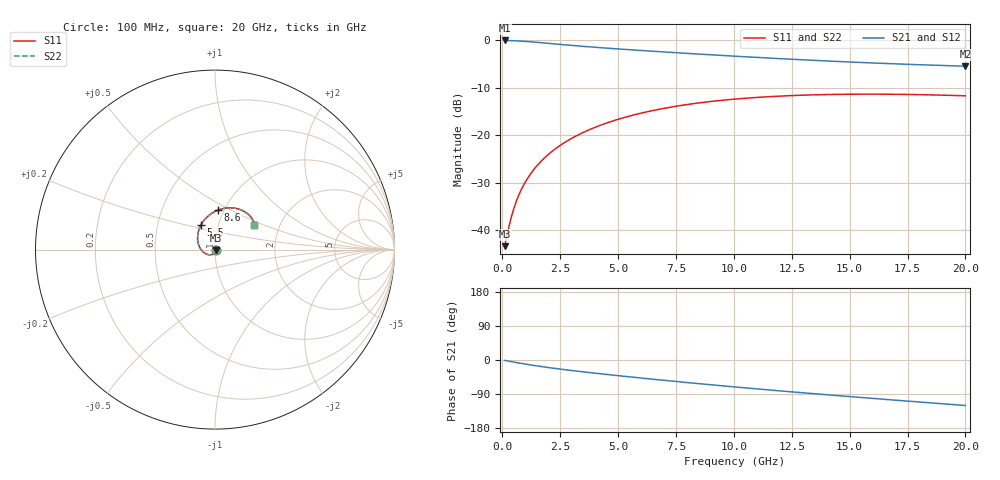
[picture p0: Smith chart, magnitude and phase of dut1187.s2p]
! Touchstone file exported from HFSS 2024.1.0
!  File:  C:/UserFiles/LocalFiles/RDL_TSV_Batchsim/temp_RDL_TSV_1187_1780126969.aedt
!  Generated:  03:58:06 PM May 30, 2026
!  Design:  RDL_TSV
!  Project:  temp_RDL_TSV_1187_1780126969
!  Setup:  Setup1
!  Solution:  Sweep
! Variables:
!  dtsv = 10.63um
!  hbump = 3um
!  htsv = 60.05um
!  ldown = 365.45um
!  lrdl = 144.45um
!  p = 40
!  p1 = 45.19um
!  rhole = 10um
!  subl = 1674.15um
!  t = 450um
!  tdown = 4.67um
!  trdl = 3.96um
!  viad = 10um
!  wdown = 28.56um
!  wrdl = 23.72um
!  xbump = 18um
# GHz S MA R 50.000000
! Terminal data exported
! Port[1] = TM1_1_T1
! Port[2] = TM1_4_T1
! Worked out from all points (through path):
!   200 points, 100 MHz to 20 GHz, reference 50 ohm
!   highest |S21| = -0.06 dB at 100 MHz (marker M1); lowest = -5.5 dB at 20 GHz (marker M2)
!   group delay of S21, straight-line fit = 15.8 ps
!   lowest |S11| = -43.4 dB at 100 MHz (marker M3), VSWR 1.01, Z = 50.6 - j0.316 ohm
!   |S11| at or under -10 dB: start of sweep to end of sweep
!   |S22| runs from -43.4 to -11.3 dB; largest |S21 - S12| = 1.1e-14
!   S11 on the Smith chart (normalised r, x): 100 MHz: 1.01, -0.01; 5.5 GHz: 0.83, +0.24; 8.6 GHz: 0.94, +0.43; 20 GHz: 1.48, +0.44
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0.1  0.006782 -27.4  0.9935 -1.2  0.9935 -1.2  0.006782 -27.4
! Gamma 0 0 0 0
! Port Impedance 50 0 50 0
0.3  0.0112 -65.0  0.9907 -3.4  0.9907 -3.4  0.0112 -65.0
0.4  0.014 -77.1  0.9888 -4.5  0.9888 -4.5  0.014 -77.1
0.5  0.01695 -86.9  0.9866 -5.6  0.9866 -5.6  0.01695 -86.9
0.6  0.01997 -95.2  0.9841 -6.6  0.9841 -6.6  0.01997 -95.2
0.7  0.02303 -102.4  0.9812 -7.7  0.9812 -7.7  0.02303 -102.4
0.9  0.0292 -115.0  0.9746 -9.8  0.9746 -9.8  0.0292 -115.0
1.2  0.03851 -130.9  0.9627 -12.8  0.9627 -12.8  0.03851 -130.9
1.4  0.04469 -140.2  0.954 -14.7  0.954 -14.7  0.0447 -140.2
1.7  0.05392 -152.8  0.9401 -17.4  0.9401 -17.4  0.05393 -152.8
2.2  0.0691 -171.0  0.9165 -21.6  0.9165 -21.6  0.06912 -171.0
2.8  0.08689 170.9  0.8894 -26.3  0.8894 -26.3  0.08693 170.9
3.5  0.107 153.7  0.8607 -31.3  0.8607 -31.3  0.107 153.7
4.4  0.1315 135.9  0.8282 -37.4  0.8282 -37.4  0.1316 135.9
5.5  0.1591 118.8  0.7933 -44.5  0.7933 -44.5  0.1592 118.8
6.8  0.1879 103.0  0.7567 -52.5  0.7567 -52.5  0.188 103.0
8.6  0.2202 85.8  0.7113 -63.1  0.7113 -63.1  0.2204 85.8
10.1  0.2404 74.4  0.6772 -71.4  0.6772 -71.4  0.2406 74.4
11.7  0.2557 64.3  0.6446 -80.0  0.6446 -80.0  0.256 64.3
13.4  0.2657 55.2  0.6141 -88.7  0.6141 -88.7  0.266 55.3
16.7  0.2699 41.7  0.5665 -104.7  0.5665 -104.7  0.2702 41.7
20  0.2596 32.5  0.5324 -120.1  0.5324 -120.1  0.26 32.5
